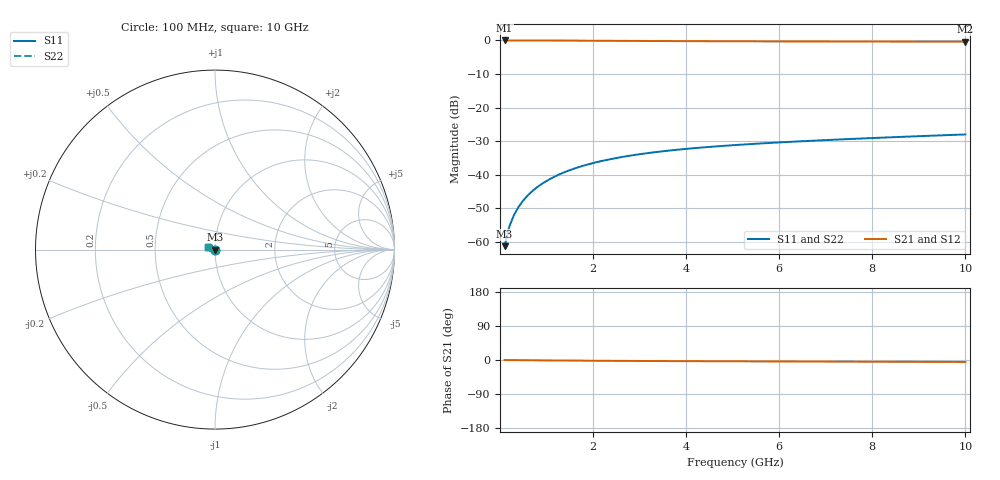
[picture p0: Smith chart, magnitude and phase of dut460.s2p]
! Touchstone file exported from HFSS 2024.1.0
!  File:  C:/UserFiles/LocalFiles/RDL_TSV_Batchsim/temp_TSV1_460_1779697472.aedt
!  Generated:  04:30:14 PM May 25, 2026
!  Design:  TSV1
!  Project:  temp_TSV1_460_1779697472
!  Setup:  Setup1
!  Solution:  Sweep
! Variables:
!  dtsv = 7.4um
!  hbump = 3um
!  htsv = 78.68um
!  lrdl = 252.1521522um
!  p = 40
!  p1 = 50.96um
!  t = 500um
!  trdl = 3um
!  wrdl = 24.89489489um
# GHz S MA R 50.000000
! Terminal data exported
! Port[1] = TSV22_T1
! Port[2] = TSV22_T2
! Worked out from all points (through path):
!   100 points, 100 MHz to 10 GHz, reference 50 ohm
!   highest |S21| = 0.00 dB at 100 MHz (marker M1); lowest = -0.4 dB at 10 GHz (marker M2)
!   lowest |S11| = -61.3 dB at 100 MHz (marker M3), VSWR 1.00, Z = 50 - j0.0826 ohm
!   |S11| at or under -10 dB: start of sweep to end of sweep
!   |S22| runs from -61.3 to -28.0 dB; largest |S21 - S12| = 3.2e-15
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0.1  0.0008571 -74.4  0.9997 -0.1  0.9997 -0.1  0.0008571 -74.4
! Gamma 0 0 0 0
! Port Impedance 50 0 50 0
0.2  0.001669 -85.0  0.9996 -0.2  0.9996 -0.2  0.001669 -85.0
0.3  0.002487 -90.0  0.9994 -0.3  0.9994 -0.3  0.002487 -90.0
0.4  0.003303 -93.6  0.9992 -0.4  0.9992 -0.4  0.003303 -93.6
0.5  0.004114 -96.5  0.999 -0.5  0.999 -0.5  0.004114 -96.5
0.6  0.004918 -99.1  0.9986 -0.6  0.9986 -0.6  0.004918 -99.1
0.7  0.005714 -101.5  0.9983 -0.8  0.9983 -0.8  0.005714 -101.5
0.8  0.006499 -103.8  0.9979 -0.9  0.9979 -0.9  0.006499 -103.8
0.9  0.007274 -106.1  0.9974 -1.0  0.9974 -1.0  0.007274 -106.1
1.1  0.008787 -110.3  0.9963 -1.2  0.9963 -1.2  0.008787 -110.3
1.4  0.01095 -116.3  0.9945 -1.4  0.9945 -1.4  0.01095 -116.3
1.6  0.01232 -120.1  0.9932 -1.6  0.9932 -1.6  0.01232 -120.1
1.8  0.01362 -123.8  0.9918 -1.8  0.9918 -1.8  0.01362 -123.8
2.1  0.01545 -129.0  0.9896 -2.0  0.9896 -2.0  0.01545 -129.0
2.5  0.01768 -135.6  0.9866 -2.3  0.9866 -2.3  0.01768 -135.6
2.9  0.01967 -141.6  0.9838 -2.5  0.9838 -2.5  0.01967 -141.6
3.4  0.02187 -148.6  0.9804 -2.7  0.9804 -2.7  0.02187 -148.6
4.2  0.02487 -158.5  0.9757 -3.1  0.9757 -3.1  0.02487 -158.5
5.1  0.02771 -168.1  0.9715 -3.5  0.9715 -3.5  0.02771 -168.1
6.7  0.03196 177.9  0.966 -4.0  0.966 -4.0  0.03196 177.9
8.4  0.036 166.0  0.9622 -4.6  0.9622 -4.6  0.036 166.0
10  0.03969 157.0  0.9597 -5.2  0.9597 -5.2  0.03969 157.0
